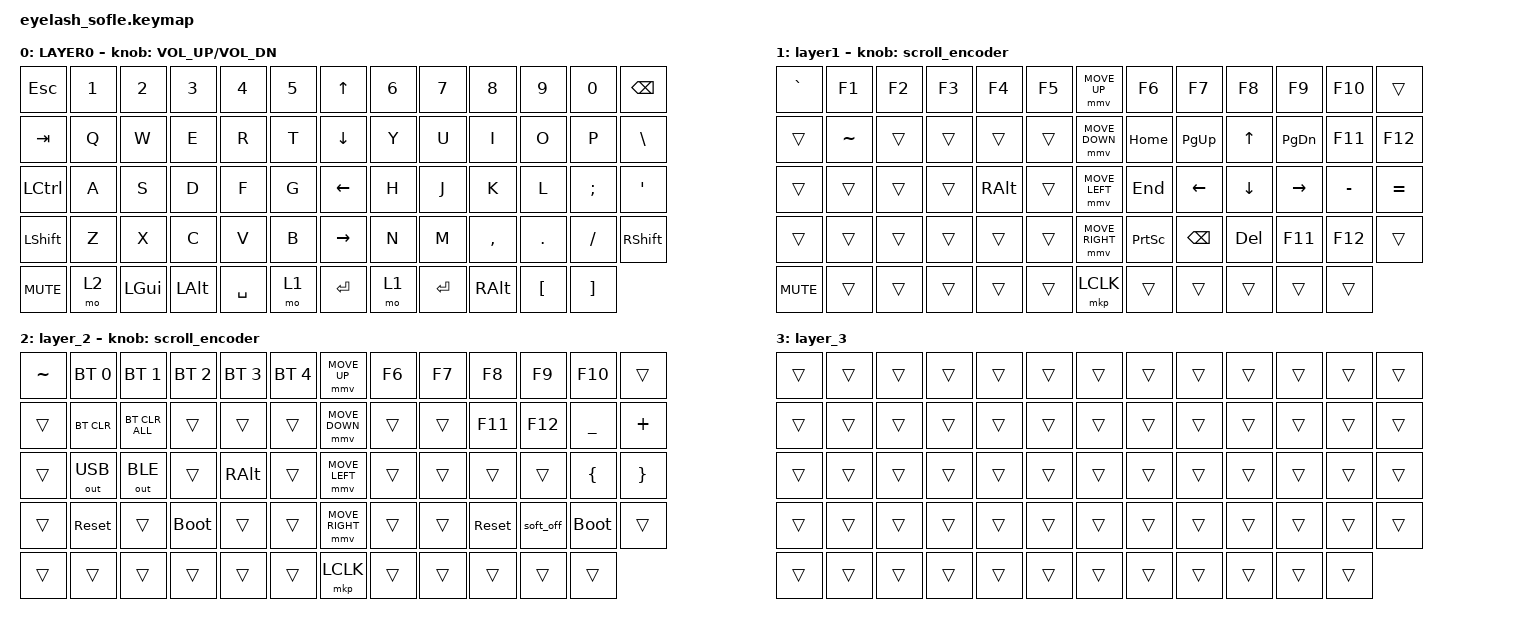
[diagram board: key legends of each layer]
#define ZMK_POINTING_DEFAULT_MOVE_VAL 1200  // 600
#define ZMK_POINTING_DEFAULT_SCRL_VAL 25   // 10

#include <input/processors.dtsi>
#include <zephyr/dt-bindings/input/input-event-codes.h>
#include <behaviors.dtsi>
#include <dt-bindings/zmk/bt.h>
#include <dt-bindings/zmk/keys.h>
#include <dt-bindings/zmk/outputs.h>
#include <dt-bindings/zmk/pointing.h>

&mmv_input_listener { input-processors = <&zip_xy_scaler 2 1>; };

&msc_input_listener { input-processors = <&zip_scroll_scaler 2 1>; };

&msc {
    acceleration-exponent = <1>;      // 0
    time-to-max-speed-ms = <100>;       // 300
    delay-ms = <0>;                   // 0
};

&mmv {
    time-to-max-speed-ms = <500>;
    acceleration-exponent = <1>;
    trigger-period-ms = <16>;
};

/ {
    scroll_encoder: scroll_encoder {
        compatible = "zmk,behavior-sensor-rotate";
        #sensor-binding-cells = <0>;
        bindings = <&msc SCRL_DOWN>, <&msc SCRL_UP>;

        tap-ms = <100>;
    };

    behaviors {
    };

    keymap {
        compatible = "zmk,keymap";

        layer0 {
            bindings = <
&kp ESC           &kp N1  &kp N2        &kp N3        &kp N4     &kp N5    &kp UP_ARROW     &kp N6  &kp N7     &kp N8         &kp N9            &kp N0             &kp BACKSPACE
&kp TAB           &kp Q   &kp W         &kp E         &kp R      &kp T     &kp DOWN_ARROW   &kp Y   &kp U      &kp I          &kp O             &kp P              &kp BSLH
&kp LEFT_CONTROL  &kp A   &kp S         &kp D         &kp F      &kp G     &kp LEFT_ARROW   &kp H   &kp J      &kp K          &kp L             &kp SEMI           &kp APOS
&kp LSHFT         &kp Z   &kp X         &kp C         &kp V      &kp B     &kp RIGHT_ARROW  &kp N   &kp M      &kp COMMA      &kp DOT           &kp FSLH           &kp RIGHT_SHIFT
&kp C_MUTE        &mo 2   &kp LEFT_GUI  &kp LEFT_ALT  &kp SPACE  &mo 1     &kp ENTER        &mo 1   &kp ENTER  &kp RIGHT_ALT  &kp LEFT_BRACKET  &kp RIGHT_BRACKET
            >;

            sensor-bindings = <&inc_dec_kp C_VOLUME_UP C_VOL_DN>;
            display-name = "LAYER0";
        };

        layer_1 {
            bindings = <
&kp GRAVE   &kp F1     &kp F2  &kp F3  &kp F4         &kp F5    &mmv MOVE_UP     &kp F6           &kp F7         &kp F8      &kp F9         &kp F10    &trans
&trans      &kp TILDE  &trans  &trans  &trans         &trans    &mmv MOVE_DOWN   &kp HOME         &kp PAGE_UP    &kp UP      &kp PAGE_DOWN  &kp F11    &kp F12
&trans      &trans     &trans  &trans  &kp RIGHT_ALT  &trans    &mmv MOVE_LEFT   &kp END          &kp LEFT       &kp DOWN    &kp RIGHT      &kp MINUS  &kp EQUAL
&trans      &trans     &trans  &trans  &trans         &trans    &mmv MOVE_RIGHT  &kp PRINTSCREEN  &kp BACKSPACE  &kp DELETE  &kp F11        &kp F12    &trans
&kp C_MUTE  &trans     &trans  &trans  &trans         &trans    &mkp LCLK        &trans           &trans         &trans      &trans         &trans
            >;

            display-name = "layer1";
            sensor-bindings = <&scroll_encoder>;
        };

        layer_2 {
            bindings = <
&kp TILDE  &bt BT_SEL 0  &bt BT_SEL 1    &bt BT_SEL 2  &bt BT_SEL 3   &bt BT_SEL 4    &mmv MOVE_UP     &kp F6  &kp F7  &kp F8      &kp F9     &kp F10      &trans
&trans     &bt BT_CLR    &bt BT_CLR_ALL  &trans        &trans         &trans          &mmv MOVE_DOWN   &trans  &trans  &kp F11     &kp F12    &kp UNDER    &kp PLUS
&trans     &out OUT_USB  &out OUT_BLE    &trans        &kp RIGHT_ALT  &trans          &mmv MOVE_LEFT   &trans  &trans  &trans      &trans     &kp LBRC     &kp RBRC
&trans     &sys_reset    &trans          &bootloader   &trans         &trans          &mmv MOVE_RIGHT  &trans  &trans  &sys_reset  &soft_off  &bootloader  &trans
&trans     &trans        &trans          &trans        &trans         &trans          &mkp LCLK        &trans  &trans  &trans      &trans     &trans
            >;

            sensor-bindings = <&scroll_encoder>;
        };

        layer_3 {
            bindings = <
&trans  &trans  &trans  &trans  &trans  &trans    &trans  &trans  &trans  &trans  &trans  &trans  &trans
&trans  &trans  &trans  &trans  &trans  &trans    &trans  &trans  &trans  &trans  &trans  &trans  &trans
&trans  &trans  &trans  &trans  &trans  &trans    &trans  &trans  &trans  &trans  &trans  &trans  &trans
&trans  &trans  &trans  &trans  &trans  &trans    &trans  &trans  &trans  &trans  &trans  &trans  &trans
&trans  &trans  &trans  &trans  &trans  &trans    &trans  &trans  &trans  &trans  &trans  &trans
            >;
        };
    };
};
